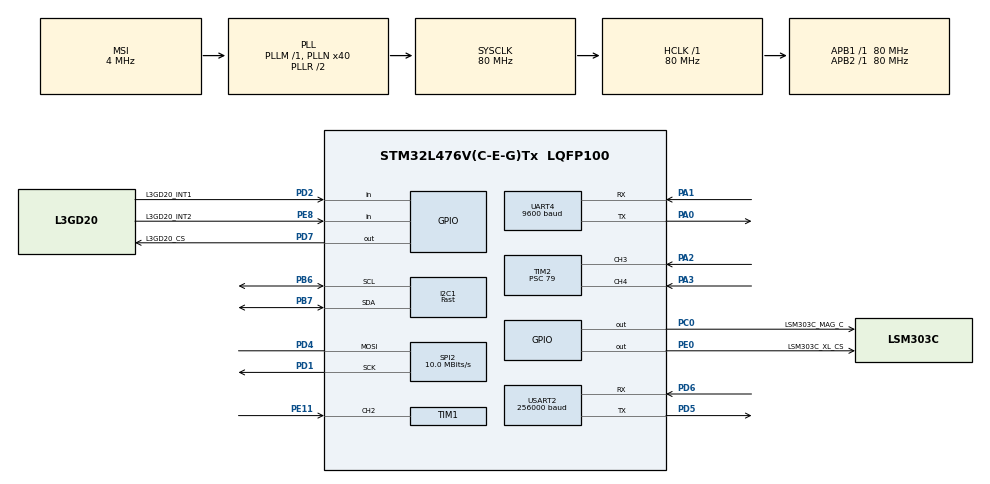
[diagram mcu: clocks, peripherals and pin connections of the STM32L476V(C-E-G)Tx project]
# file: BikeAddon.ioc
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Dma.I2C1_RX.2.Direction=DMA_PERIPH_TO_MEMORY
Dma.I2C1_RX.2.Instance=DMA2_Channel6
Dma.I2C1_RX.2.MemDataAlignment=DMA_MDATAALIGN_BYTE
Dma.I2C1_RX.2.MemInc=DMA_MINC_ENABLE
Dma.I2C1_RX.2.Mode=DMA_CIRCULAR
Dma.I2C1_RX.2.PeriphDataAlignment=DMA_PDATAALIGN_BYTE
Dma.I2C1_RX.2.PeriphInc=DMA_PINC_DISABLE
Dma.I2C1_RX.2.Priority=DMA_PRIORITY_LOW
Dma.I2C1_TX.3.Direction=DMA_MEMORY_TO_PERIPH
Dma.I2C1_TX.3.Instance=DMA1_Channel6
Dma.I2C1_TX.3.MemDataAlignment=DMA_MDATAALIGN_BYTE
Dma.I2C1_TX.3.MemInc=DMA_MINC_ENABLE
Dma.I2C1_TX.3.Mode=DMA_NORMAL
Dma.I2C1_TX.3.PeriphDataAlignment=DMA_PDATAALIGN_BYTE
Dma.I2C1_TX.3.PeriphInc=DMA_PINC_DISABLE
Dma.I2C1_TX.3.Priority=DMA_PRIORITY_LOW
Dma.Request0=UART4_RX
Dma.Request1=UART4_TX
Dma.Request2=I2C1_RX
Dma.Request3=I2C1_TX
Dma.Request4=SPI2_RX
Dma.Request5=SPI2_TX
Dma.Request6=TIM1_CH2
Dma.Request7=TIM2_CH2/CH4
Dma.Request8=TIM2_CH3
Dma.SPI2_RX.4.Direction=DMA_PERIPH_TO_MEMORY
Dma.SPI2_RX.4.Instance=DMA1_Channel4
Dma.SPI2_RX.4.MemDataAlignment=DMA_MDATAALIGN_BYTE
Dma.SPI2_RX.4.MemInc=DMA_MINC_ENABLE
Dma.SPI2_RX.4.Mode=DMA_CIRCULAR
Dma.SPI2_RX.4.PeriphDataAlignment=DMA_PDATAALIGN_BYTE
Dma.SPI2_RX.4.PeriphInc=DMA_PINC_DISABLE
Dma.SPI2_RX.4.Priority=DMA_PRIORITY_LOW
Dma.SPI2_TX.5.Direction=DMA_MEMORY_TO_PERIPH
Dma.SPI2_TX.5.Instance=DMA1_Channel5
Dma.SPI2_TX.5.MemDataAlignment=DMA_MDATAALIGN_BYTE
Dma.SPI2_TX.5.MemInc=DMA_MINC_ENABLE
Dma.SPI2_TX.5.Mode=DMA_NORMAL
Dma.SPI2_TX.5.PeriphDataAlignment=DMA_PDATAALIGN_BYTE
Dma.SPI2_TX.5.PeriphInc=DMA_PINC_DISABLE
Dma.SPI2_TX.5.Priority=DMA_PRIORITY_LOW
Dma.TIM1_CH2.6.Direction=DMA_PERIPH_TO_MEMORY
Dma.TIM1_CH2.6.Instance=DMA1_Channel3
Dma.TIM1_CH2.6.MemDataAlignment=DMA_MDATAALIGN_HALFWORD
Dma.TIM1_CH2.6.MemInc=DMA_MINC_ENABLE
Dma.TIM1_CH2.6.Mode=DMA_CIRCULAR
Dma.TIM1_CH2.6.PeriphDataAlignment=DMA_PDATAALIGN_HALFWORD
Dma.TIM1_CH2.6.PeriphInc=DMA_PINC_DISABLE
Dma.TIM1_CH2.6.Priority=DMA_PRIORITY_LOW
Dma.TIM2_CH2/CH4.7.Direction=DMA_PERIPH_TO_MEMORY
Dma.TIM2_CH2/CH4.7.Instance=DMA1_Channel7
Dma.TIM2_CH2/CH4.7.MemDataAlignment=DMA_MDATAALIGN_WORD
Dma.TIM2_CH2/CH4.7.MemInc=DMA_MINC_ENABLE
Dma.TIM2_CH2/CH4.7.Mode=DMA_CIRCULAR
Dma.TIM2_CH2/CH4.7.PeriphDataAlignment=DMA_PDATAALIGN_WORD
Dma.TIM2_CH2/CH4.7.PeriphInc=DMA_PINC_DISABLE
Dma.TIM2_CH2/CH4.7.Priority=DMA_PRIORITY_LOW
Dma.TIM2_CH3.8.Direction=DMA_PERIPH_TO_MEMORY
Dma.TIM2_CH3.8.Instance=DMA1_Channel1
Dma.TIM2_CH3.8.MemDataAlignment=DMA_MDATAALIGN_WORD
Dma.TIM2_CH3.8.MemInc=DMA_MINC_ENABLE
Dma.TIM2_CH3.8.Mode=DMA_CIRCULAR
Dma.TIM2_CH3.8.PeriphDataAlignment=DMA_PDATAALIGN_WORD
Dma.TIM2_CH3.8.PeriphInc=DMA_PINC_DISABLE
Dma.TIM2_CH3.8.Priority=DMA_PRIORITY_LOW
Dma.UART4_RX.0.Direction=DMA_PERIPH_TO_MEMORY
Dma.UART4_RX.0.Instance=DMA2_Channel5
Dma.UART4_RX.0.MemDataAlignment=DMA_MDATAALIGN_BYTE
Dma.UART4_RX.0.MemInc=DMA_MINC_ENABLE
Dma.UART4_RX.0.Mode=DMA_CIRCULAR
Dma.UART4_RX.0.PeriphDataAlignment=DMA_PDATAALIGN_BYTE
Dma.UART4_RX.0.PeriphInc=DMA_PINC_DISABLE
Dma.UART4_RX.0.Priority=DMA_PRIORITY_LOW
Dma.UART4_TX.1.Direction=DMA_MEMORY_TO_PERIPH
Dma.UART4_TX.1.Instance=DMA2_Channel3
Dma.UART4_TX.1.MemDataAlignment=DMA_MDATAALIGN_BYTE
Dma.UART4_TX.1.MemInc=DMA_MINC_ENABLE
Dma.UART4_TX.1.Mode=DMA_NORMAL
Dma.UART4_TX.1.PeriphDataAlignment=DMA_PDATAALIGN_BYTE
Dma.UART4_TX.1.PeriphInc=DMA_PINC_DISABLE
Dma.UART4_TX.1.Priority=DMA_PRIORITY_LOW
I2C1.I2C_Fall_Time=50
I2C1.I2C_Rise_Time=50
I2C1.I2C_Speed_Mode=I2C_Fast
I2C1.Timing=0x00B02989
Mcu.Family=STM32L4
Mcu.Name=STM32L476V(C-E-G)Tx
Mcu.Package=LQFP100
NVIC.DMA1_Channel1_IRQn=true\:0\:0\:false\:false\:true\:false\:true
NVIC.DMA1_Channel3_IRQn=true\:0\:0\:false\:false\:true\:false\:true
NVIC.DMA1_Channel4_IRQn=true\:0\:0\:false\:false\:true\:false\:true
NVIC.DMA1_Channel5_IRQn=true\:0\:0\:false\:false\:true\:false\:true
NVIC.DMA1_Channel6_IRQn=true\:0\:0\:false\:false\:true\:false\:true
NVIC.DMA1_Channel7_IRQn=true\:0\:0\:false\:false\:true\:false\:true
NVIC.DMA2_Channel3_IRQn=true\:0\:0\:false\:false\:true\:false\:true
NVIC.DMA2_Channel5_IRQn=true\:0\:0\:false\:false\:true\:false\:true
NVIC.DMA2_Channel6_IRQn=true\:0\:0\:false\:false\:true\:false\:true
NVIC.PriorityGroup=NVIC_PRIORITYGROUP_4
NVIC.TIM1_CC_IRQn=true\:0\:0\:false\:false\:true\:true\:true
NVIC.TIM2_IRQn=true\:0\:0\:false\:false\:true\:true\:true
NVIC.TIM3_IRQn=true\:0\:0\:false\:false\:true\:true\:true
NVIC.UART4_IRQn=true\:0\:0\:false\:false\:true\:true\:true
PA0.Mode=Asynchronous
PA0.Signal=UART4_TX
PA1.Mode=Asynchronous
PA1.Signal=UART4_RX
PA2.Signal=S_TIM2_CH3
PA3.Signal=S_TIM2_CH4
PB6.Mode=I2C
PB6.Signal=I2C1_SCL
PB7.Mode=I2C
PB7.Signal=I2C1_SDA
PC0.GPIO_Label=LSM303C_MAG_C
PC0.GPIO_PuPd=GPIO_PULLUP
PC0.Signal=GPIO_Output
PD1.Mode=Simplex_Bidirectional_Master
PD1.Signal=SPI2_SCK
PD2.GPIO_Label=L3GD20_INT1
PD2.GPIO_PuPd=GPIO_NOPULL
PD2.Signal=GPIO_Input
PD4.Mode=Simplex_Bidirectional_Master
PD4.Signal=SPI2_MOSI
PD5.Mode=Asynchronous
PD5.Signal=USART2_TX
PD6.Mode=Asynchronous
PD6.Signal=USART2_RX
PD7.GPIO_Label=L3GD20_CS
PD7.GPIO_PuPd=GPIO_PULLUP
PD7.Signal=GPIO_Output
PE0.GPIO_Label=LSM303C_XL_CS
PE0.GPIO_PuPd=GPIO_PULLUP
PE0.Signal=GPIO_Output
PE11.Signal=S_TIM1_CH2
PE8.GPIO_Label=L3GD20_INT2
PE8.Signal=GPIO_Input
ProjectManager.HeapSize=0x200
ProjectManager.StackSize=0x400
ProjectManager.TargetToolchain=STM32CubeIDE
RCC.ADCFreq_Value=48000000
RCC.AHBFreq_Value=80000000
RCC.APB1Freq_Value=80000000
RCC.APB1TimFreq_Value=80000000
RCC.APB2Freq_Value=80000000
RCC.APB2TimFreq_Value=80000000
RCC.CortexFreq_Value=80000000
RCC.HCLKFreq_Value=80000000
RCC.HSE_VALUE=8000000
RCC.HSI_VALUE=16000000
RCC.LSE_VALUE=32768
RCC.MSI_VALUE=4000000
RCC.PLLN=40
RCC.PLLSAI1N=24
RCC.PREFETCH_ENABLE=1
RCC.SYSCLKFreq_VALUE=80000000
RCC.SYSCLKSource=RCC_SYSCLKSOURCE_PLLCLK
RCC.USBFreq_Value=48000000
RCC.VCOOutputFreq_Value=160000000
SH.S_TIM1_CH2.0=TIM1_CH2,Input_Capture2_from_TI2
SH.S_TIM2_CH3.0=TIM2_CH3,Input_Capture3_from_TI3
SH.S_TIM2_CH4.0=TIM2_CH4,Input_Capture4_from_TI4
SPI2.BaudRatePrescaler=SPI_BAUDRATEPRESCALER_8
SPI2.CalculateBaudRate=10.0 MBits/s
SPI2.DataSize=SPI_DATASIZE_8BIT
SPI2.Direction=SPI_DIRECTION_1LINE
SPI2.Mode=SPI_MODE_MASTER
SPI2.VirtualType=VM_MASTER
TIM1.Channel-Input_Capture2_from_TI2=TIM_CHANNEL_2
TIM1.ICPolarity_CH2=TIM_INPUTCHANNELPOLARITY_FALLING
TIM1.Prescaler=7999
TIM2.Channel-Input_Capture3_from_TI3=TIM_CHANNEL_3
TIM2.Channel-Input_Capture4_from_TI4=TIM_CHANNEL_4
TIM2.ICPolarity_CH3=TIM_INPUTCHANNELPOLARITY_FALLING
TIM2.ICPolarity_CH4=TIM_INPUTCHANNELPOLARITY_FALLING
TIM2.Prescaler=79
TIM3.ClockDivision=TIM_CLOCKDIVISION_DIV1
TIM3.Period=1000
TIM3.Prescaler=7999
UART4.BaudRate=9600
USART2.BaudRate=256000
USART2.VirtualMode-Asynchronous=VM_ASYNC
VP_TIM1_VS_ClockSourceINT.Mode=Internal
VP_TIM2_VS_ClockSourceINT.Mode=Internal
VP_TIM3_VS_ClockSourceINT.Mode=Internal
board=STM32L476G-DISCO

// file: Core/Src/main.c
/* USER CODE BEGIN Header */
/**
  ******************************************************************************
  * @file           : main.c
  * @brief          : Main program body
  ******************************************************************************
  * @attention
  *
  * <h2><center>&copy; Copyright (c) 2020 STMicroelectronics.
  * All rights reserved.</center></h2>
  *
  * This software component is licensed by ST under Ultimate Liberty license
  * SLA0044, the "License"; You may not use this file except in compliance with
  * the License. You may obtain a copy of the License at:
  *                             www.st.com/SLA0044
  *
  ******************************************************************************
  */
/* USER CODE END Header */
#include "main.h"
#include "dma.h"
#include "i2c.h"
#include "spi.h"
#include "tim.h"
#include "usart.h"
#include "gpio.h"

/* USER CODE BEGIN Includes */
#include <stdio.h>
#include <math.h>
#include "common.h"
#include "hall_effect.h"
#include "l3gd20.h"
#include "lsm303c.h"
#include "mpu6050.h"
#include "kalman_filter.h"
#include "alpha_beta_filter.h"
/* USER CODE END Includes */

/* USER CODE BEGIN PD */
#define MY_DEBUG 1
#define OUTPUT_AS_RAW 0
/* Front Wheel Timer Configurations */
#define FRONT_WHEEL_TIM htim2
#define FRONT_WHEEL_TIMX 2
#define FRONT_WHEEL_CHL TIM_CHANNEL_3
/* Back Wheel Timer Configurations */
#define BACK_WHEEL_TIM htim2
#define BACK_WHEEL_TIMX 2
#define BACK_WHEEL_CHL TIM_CHANNEL_4
/* Pedal Gear Timer Configurations */
#define PEDAL_GEAR_TIM htim1
#define PEDAL_GEAR_TIMX 1
#define PEDAL_GEAR_CHL TIM_CHANNEL_4
/* Hall Effect Setups */
#define DISTANCE_BETWEEN_WHEEL_MAGS_CM 5.7
#define DISTANCE_BETWEEN_PEDAL_MAGS_CM 3.5
/* Timing for System */
#define TIM3_FREQUENCY_HZ 10000.0
#define TIM3_TIME_PER_TICK (1/TIM3_FREQUENCY_HZ)
#define SYSTEM_TIME_DELTA_MS 100.0
#define SYSTEM_TIME_MS_TO_TIM3(sys_time) (sys_time / (TIM3_TIME_PER_TICK * 1000.0))
/* USER CODE END PD */

/* USER CODE BEGIN PV */
hall_effect_sensor_t frnt_wheel;
hall_effect_sensor_t back_wheel;
hall_effect_sensor_t pedal_gear;

MPU6050_t mpu_dev;
lsm303c_t lsm_dev;
l3gd20_t l3g_dev;

kalman_t kalman_x = {
        .q_angle = 0.001,
        .q_bias = 0.003,
        .r_measure = 0.03
};

kalman_t kalman_y = {
        .q_angle = 0.001,
        .q_bias = 0.003,
        .r_measure = 0.03,
};

alpha_beta_t alpha_beta_x = {
		.alpha = 0.005,
		.beta = 0.85
};

alpha_beta_t alpha_beta_y = {
		.alpha = 0.005,
		.beta = 0.85
};

double complementary_angle_x = 0;
double complementary_angle_y = 0;

double ab_comp_angle_x = 0;
double ab_comp_angle_y = 0;

double bike_vel_kmh;
double pedal_vel_kmh;
uint32_t total_travelled_meters;
uint32_t frnt_wheel_travelled_meters;
uint32_t back_wheel_travelled_meters;

double dt_ms = SYSTEM_TIME_DELTA_MS;
double dt_s = SYSTEM_TIME_DELTA_MS / 1000.0;

uint8_t wait_flag = 1;
/* USER CODE END PV */

void SystemClock_Config(void);
/* USER CODE BEGIN PFP */
void compute_dynamic_tilt();
void compute_heffects();

void compute_kalman_angles(double dt);
void compute_alpha_beta_angles(double dt);
void compute_complementary_angles();
void compute_ab_comp_angles();
void zero_out_angles();
/* USER CODE END PFP */

int main(void)
{
  /* USER CODE BEGIN 1 */
	/* ID = TIMX * TIM_CHANNEL_MAX(6) + TIM_CHANNEL_X */
	frnt_wheel.id = get_hall_effect_sensor_id(FRONT_WHEEL_TIMX, FRONT_WHEEL_CHL);
	back_wheel.id = get_hall_effect_sensor_id(BACK_WHEEL_TIMX, BACK_WHEEL_CHL);
	pedal_gear.id = get_hall_effect_sensor_id(PEDAL_GEAR_TIMX, PEDAL_GEAR_CHL);
  /* USER CODE END 1 */

  /* MCU Configuration--------------------------------------------------------*/

  /* Reset of all peripherals, Initializes the Flash interface and the Systick. */
  HAL_Init();

  /* USER CODE BEGIN Init */
	configure_hall_effect(&frnt_wheel);
	configure_hall_effect(&back_wheel);
	configure_hall_effect(&pedal_gear);
  /* USER CODE END Init */

  /* Configure the system clock */
  SystemClock_Config();

  /* Initialize all configured peripherals */
  MX_GPIO_Init();
  MX_DMA_Init();
  MX_USART2_UART_Init();
  MX_UART4_Init();
  MX_I2C1_Init();
  MX_SPI2_Init();
  MX_TIM2_Init();
  MX_TIM1_Init();
  MX_TIM3_Init();
  /* USER CODE BEGIN 2 */
	htim3.Instance->ARR = SYSTEM_TIME_MS_TO_TIM3(dt_ms);

	l3gd20_init(&hspi2);
	lsm303c_init(&hspi2);
	while (MPU6050_Init(&hi2c1) == 1);
	HAL_TIM_IC_Start_DMA(&(FRONT_WHEEL_TIM), FRONT_WHEEL_CHL, frnt_wheel.buffer, frnt_wheel.buf_len);
	HAL_TIM_IC_Start_DMA(&(BACK_WHEEL_TIM), BACK_WHEEL_CHL, back_wheel.buffer, back_wheel.buf_len);
	HAL_TIM_IC_Start_DMA(&(PEDAL_GEAR_TIM), PEDAL_GEAR_CHL, pedal_gear.buffer, pedal_gear.buf_len);
  /* USER CODE END 2 */

  /* Infinite loop */
  /* USER CODE BEGIN WHILE */
	zero_out_angles();

	HAL_Delay(2000);
	HAL_TIM_Base_Start_IT(&htim3);
	char buffer[64] = { 0 };
  	size_t size;

	while (1)
	{
		wait_flag = 1;

		compute_dynamic_tilt();
		compute_heffects();

#if MY_DEBUG == 1
		HAL_UART_Transmit(&huart2, (uint8_t *)"===========Built-in Raw===========\n\r", sizeof("===========Built-in Raw===========\n\r"), 0xFFFF);

		size = snprintf(buffer, 64, "Acce: X: %0.4f\tY: %0.4f\n\r", lsm_dev.acc_x, lsm_dev.acc_y);
		HAL_UART_Transmit(&huart2, (uint8_t *)buffer, size, 0xFFFF);
		size = snprintf(buffer, 64, "Gyro: X: %0.4f\tY: %0.4f\tZ: %0.4f\n\r", l3g_dev.gyro_x, l3g_dev.gyro_y, l3g_dev.gyro_z);
		HAL_UART_Transmit(&huart2, (uint8_t *)buffer, size, 0xFFFF);

		HAL_UART_Transmit(&huart2, (uint8_t *)"===========MPU Raw===========\n\r", sizeof("===========MPU Raw===========\n\r"), 0xFFFF);

		size = snprintf(buffer, 64, "Acce: X: %0.4f\tY: %0.4f\n\r", mpu_dev.AccX, mpu_dev.AccY);
		HAL_UART_Transmit(&huart2, (uint8_t *)buffer, size, 0xFFFF);
		size = snprintf(buffer, 64, "Gyro: X: %0.4f\tY: %0.4f\tZ: %0.4f\n\r", mpu_dev.GyroX, mpu_dev.GyroY, mpu_dev.GyroZ);
		HAL_UART_Transmit(&huart2, (uint8_t *)buffer, size, 0xFFFF);

		HAL_UART_Transmit(&huart2, (uint8_t *)"===========MPU Filters===========\n\r", sizeof("===========MPU Filters===========\n\r"), 0xFFFF);

		size = snprintf(buffer, 64, "Kalman: X: %0.4f\tY: %0.4f\n\r", kalman_x.angle, kalman_y.angle);
		HAL_UART_Transmit(&huart2, (uint8_t *)buffer, size, 0xFFFF);
		size = snprintf(buffer, 64, "Alpha: X: %0.4f\tY: %0.4f\n\r", alpha_beta_x.alpha_out, alpha_beta_y.alpha_out);
		HAL_UART_Transmit(&huart2, (uint8_t *)buffer, size, 0xFFFF);
		size = snprintf(buffer, 64, "Complementary: X: %0.4f\tY: %0.4f\n\r", complementary_angle_x, complementary_angle_y);
		HAL_UART_Transmit(&huart2, (uint8_t *)buffer, size, 0xFFFF);
		size = snprintf(buffer, 64, "Alpha + Comp: X: %0.4f\tY: %0.4f\n\r", ab_comp_angle_x, ab_comp_angle_y);
		HAL_UART_Transmit(&huart2, (uint8_t *)buffer, size, 0xFFFF);
#endif

		/* Consume for set time */
		while (wait_flag == 1);
#if MY_DEBUG == 1
		HAL_UART_Transmit(&huart2, (uint8_t *)"\033c", sizeof("\033c"), 0xFFFF);
#endif
		/* Read position via GPS */
		/* Read speed via GPS */
		/* Calculate acce via GPS */
		  /* acce = (speed_now - speed_before) / time */
		/* Read linear acceleration via IMU */
		  /* This requires hefty math */
    /* USER CODE END WHILE */

	}
}

void SystemClock_Config(void)
{
  RCC_OscInitTypeDef RCC_OscInitStruct = {0};
  RCC_ClkInitTypeDef RCC_ClkInitStruct = {0};
  RCC_PeriphCLKInitTypeDef PeriphClkInit = {0};

  /** Initializes the RCC Oscillators according to the specified parameters
  * in the RCC_OscInitTypeDef structure.
  */
  RCC_OscInitStruct.OscillatorType = RCC_OSCILLATORTYPE_MSI;
  RCC_OscInitStruct.MSIState = RCC_MSI_ON;
  RCC_OscInitStruct.MSICalibrationValue = 0;
  RCC_OscInitStruct.MSIClockRange = RCC_MSIRANGE_6;
  RCC_OscInitStruct.PLL.PLLState = RCC_PLL_ON;
  RCC_OscInitStruct.PLL.PLLSource = RCC_PLLSOURCE_MSI;
  RCC_OscInitStruct.PLL.PLLM = 1;
  RCC_OscInitStruct.PLL.PLLN = 40;
  RCC_OscInitStruct.PLL.PLLP = RCC_PLLP_DIV7;
  RCC_OscInitStruct.PLL.PLLQ = RCC_PLLQ_DIV2;
  RCC_OscInitStruct.PLL.PLLR = RCC_PLLR_DIV2;
  if (HAL_RCC_OscConfig(&RCC_OscInitStruct) != HAL_OK)
  {
    Error_Handler();
  }
  /** Initializes the CPU, AHB and APB buses clocks
  */
  RCC_ClkInitStruct.ClockType = RCC_CLOCKTYPE_HCLK|RCC_CLOCKTYPE_SYSCLK
                              |RCC_CLOCKTYPE_PCLK1|RCC_CLOCKTYPE_PCLK2;
  RCC_ClkInitStruct.SYSCLKSource = RCC_SYSCLKSOURCE_PLLCLK;
  RCC_ClkInitStruct.AHBCLKDivider = RCC_SYSCLK_DIV1;
  RCC_ClkInitStruct.APB1CLKDivider = RCC_HCLK_DIV1;
  RCC_ClkInitStruct.APB2CLKDivider = RCC_HCLK_DIV1;

  if (HAL_RCC_ClockConfig(&RCC_ClkInitStruct, FLASH_LATENCY_4) != HAL_OK)
  {
    Error_Handler();
  }
  PeriphClkInit.PeriphClockSelection = RCC_PERIPHCLK_USART2|RCC_PERIPHCLK_UART4
                              |RCC_PERIPHCLK_I2C1;
  PeriphClkInit.Usart2ClockSelection = RCC_USART2CLKSOURCE_PCLK1;
  PeriphClkInit.Uart4ClockSelection = RCC_UART4CLKSOURCE_PCLK1;
  PeriphClkInit.I2c1ClockSelection = RCC_I2C1CLKSOURCE_PCLK1;
  if (HAL_RCCEx_PeriphCLKConfig(&PeriphClkInit) != HAL_OK)
  {
    Error_Handler();
  }
  /** Configure the main internal regulator output voltage
  */
  if (HAL_PWREx_ControlVoltageScaling(PWR_REGULATOR_VOLTAGE_SCALE1) != HAL_OK)
  {
    Error_Handler();
  }
}

/* USER CODE BEGIN 4 */
/** Computes the dynamic tilt of the device.
 *
 * Dynamic tilt takes into account the linear acceleration of the body.
 * As a result, a gyroscope AND accelerometer is used to determine the incline
 * of the bike as the user moves. It will mostly be looking for steady-state
 * incline as there is a lot of noise as a bike travels. The desired response
 * time to an incline is approximately ~2-3 seconds. This should provide enough
 * phase error when using an advanced filter such as a Kalman filter or
 * integrating a low pass filter for noise reduction.
 */
void compute_dynamic_tilt()
{
	/* Compute dynamic tilt angle via MPU6050 IMU */
	MPU6050_Read_All(&hi2c1, &mpu_dev);
	MPU6050_Compute_Angles(&mpu_dev, dt_s);
	compute_kalman_angles(dt_s);
	compute_alpha_beta_angles(dt_s);
	compute_complementary_angles();
	compute_ab_comp_angles();

	/* Compute dynamic tilt angle via LSM303C and L3GD20 IMUs */
	read_xyz_values_lsm303c(&(lsm_dev.xyz_raw));
	read_xyz_values_l3gd20(&(l3g_dev.xyz_raws));
	lsm303c_compute_angles(&lsm_dev);
	l3gd20_compute_angles(&l3g_dev, dt_s);
}

/** Computes the angle of the device using a Kalman Filter.
 *
 * This filter is complicated and is mostly derived from online sources.
 *
 * Note: This filter is tuned well to remove a lot of steady state drift.
 * An additional filter (e.g low pass filter) should be implemented to help
 * with noise reduction.
 */
void compute_kalman_angles(double dt)
{
	if ((mpu_dev.AccY < -90 && kalman_y.angle > 90) || (mpu_dev.AccY > 90 && kalman_y.angle < -90))
	{
	  kalman_y.angle = mpu_dev.AccY;
	}
	else
	{
	  kalman_y.angle = kalman_get_angle(&kalman_y, mpu_dev.AccY, mpu_dev.Gy, dt);
	}

	if (fabs(kalman_y.angle) > 90)
	{
	  mpu_dev.Gx = -mpu_dev.Gx;
	}
	kalman_x.angle = kalman_get_angle(&kalman_x, mpu_dev.AccX, mpu_dev.Gx, dt);
}

/** Computes the angle of the device using an alpha-beta filter.
 *
 * The alpha-beta filter is extremely simple and only takes into account the
 * gyroscope. As such, this filter introduces a lot of long term drift but
 * handles noise fairly well compared to the Kalman Filter. It's response time
 * is also adequate.
 */
void compute_alpha_beta_angles(double dt)
{
	alpha_beta_update(&alpha_beta_x, mpu_dev.Gx, dt);
	alpha_beta_update(&alpha_beta_y, mpu_dev.Gy, dt);
}

/** Computes the angle of the device using a complementary angle.
 *
 * The complementary filter is also extremely simple but requires the angle to
 * be computed using Euler math. This causes a Gimble-lock along the yaw axis
 * which normally is an issue but for this case, only the pitch axis matters.
 *
 * Note: This filter needs to be tuned better as the long term drift isn't
 * completely mitigated by the accelerometer.
 */
void compute_complementary_angles()
{
	complementary_angle_x = 0.04f * mpu_dev.AccX + 0.96 * mpu_dev.GyroX;
	complementary_angle_y = 0.04f * mpu_dev.AccY + 0.96 * mpu_dev.GyroY;
}

/** Computes the angle of the device by combining the alpha-beta and complementary filters.
 *
 * This combines both the alpha-beta filter and the complementary filter together
 * to help cover some of their faults. It works for a bit but still exhibits long
 * term drift as the complimentary filter part isn't perfect yet.
 */
void compute_ab_comp_angles()
{
	ab_comp_angle_x = 0.04f * mpu_dev.AccX + 0.96 * alpha_beta_x.alpha_out;
	ab_comp_angle_y = 0.04f * mpu_dev.AccY + 0.96 * alpha_beta_y.alpha_out;
}

/** Zeros out the starting angles for the MPU6050
 *
 * This is used for initial calibration. Ideally, each MPU device will
 * know absolute flatness and will not significantly drift from that.
 *
 * Note: The MPU6050 device is being used in place of a inclino-meter as
 * those devices are expensive but extremely precise.
 *
 * Note: A magnetometer can be used in conjunction with the MPU6050 for
 * better precision and lower drift. The STM32L476VG has a built in MEMs
 * magnetometer but is a WIP.
 */
void zero_out_angles()
{
	char buffer[64] = { 0 };
	double error_temps[10] = { 0 };
	size_t size;

	for (int i = 0; i < 50; i++)
	{
		MPU6050_Read_All(&hi2c1, &mpu_dev);
		read_xyz_values_lsm303c(&(lsm_dev.xyz_raw));
		read_xyz_values_l3gd20(&(l3g_dev.xyz_raws));

		HAL_Delay(dt_ms);
	}

	for (int i = 0; i < 50; i++)
	{
		MPU6050_Read_All(&hi2c1, &mpu_dev);
		MPU6050_Compute_Angles(&mpu_dev, dt_s);

		error_temps[0] += mpu_dev.AccX;
		error_temps[1] += mpu_dev.AccY;

		error_temps[2] += mpu_dev.Gx;
		error_temps[3] += mpu_dev.Gy;
		error_temps[4] += mpu_dev.Gz;

		read_xyz_values_lsm303c(&(lsm_dev.xyz_raw));
		read_xyz_values_l3gd20(&(l3g_dev.xyz_raws));
		lsm303c_compute_angles(&lsm_dev);
		l3gd20_compute_angles(&l3g_dev, dt_s);

		error_temps[5] += lsm_dev.acc_x;
		error_temps[6] += lsm_dev.acc_y;

		error_temps[7] += l3g_dev.xyz_raws.x;
		error_temps[8] += l3g_dev.xyz_raws.y;
		error_temps[9] += l3g_dev.xyz_raws.z;

		HAL_Delay(dt_ms);
	}

	mpu_dev.AccXError -= error_temps[0] / 50.0;
	mpu_dev.AccYError -= error_temps[1] / 50.0;

	mpu_dev.GyroXError -= error_temps[2] / 50.0;
	mpu_dev.GyroYError -= error_temps[3] / 50.0;
	mpu_dev.GyroZError -= error_temps[4] / 50.0;

	lsm_dev.acc_x_error -= error_temps[5] / 50.0;
	lsm_dev.acc_y_error -= error_temps[6] / 50.0;

	l3g_dev.gyro_x_error -= error_temps[7] / 50.0;
	l3g_dev.gyro_y_error -= error_temps[8] / 50.0;
	l3g_dev.gyro_z_error -= error_temps[9] / 50.0;

	HAL_UART_Transmit(&huart2, (uint8_t *)"===========MPU Raw===========\n\r", sizeof("===========MPU Raw===========\n\r"), 0xFFFF);

	size = snprintf(buffer, 64, "Acce Zero: X: %0.4f\tY: %0.4f\n\r", mpu_dev.AccXError, mpu_dev.AccYError);
	HAL_UART_Transmit(&huart2, (uint8_t *)buffer, size, 0xFFFF);
	size = snprintf(buffer, 64, "Gyro Zero: X: %0.4f\tY: %0.4f\tZ: %0.4f\n\r", mpu_dev.GyroXError, mpu_dev.GyroYError, mpu_dev.GyroZError);
	HAL_UART_Transmit(&huart2, (uint8_t *)buffer, size, 0xFFFF);

	HAL_UART_Transmit(&huart2, (uint8_t *)"===========Built-in Raw===========\n\r", sizeof("===========Built-in Raw===========\n\r"), 0xFFFF);

	size = snprintf(buffer, 64, "Acce Zero: X: %0.4f\tY: %0.4f\n\r", lsm_dev.acc_x_error, lsm_dev.acc_y_error);
	HAL_UART_Transmit(&huart2, (uint8_t *)buffer, size, 0xFFFF);
	size = snprintf(buffer, 64, "Gyro Zero: X: %0.4f\tY: %0.4f\tZ: %0.4f\n\r", l3g_dev.gyro_x_error, l3g_dev.gyro_y_error, l3g_dev.gyro_z_error);
	HAL_UART_Transmit(&huart2, (uint8_t *)buffer, size, 0xFFFF);
}

/** Perform calculations using the hall effect sensor hardware
 *
 * Hall effects are used to calculate:
 *  - Total distance traveled (ticks * distance_between_mags)
 *  - Velocity (distance / time_between_mags)
 *  - Acceleration (WIP)
 *
 * This sensor is expected to have little to no noise. Possibly
 * some de-bouncing is required for switch triggers though a
 * Schmitt trigger is already integrated into the sensors
 *
 * Note: The total distance traveled is absolute. The ticks counter will
 * update continuously regardless of this function call. The distance will
 * never overflow as it will require the user to travel over ~151000 miles
 * (5.7cm * (2^32 - 1)).
 *
 * Note: Velocity is a direct calculation but assumes constant movement.
 * This means that the velocity may need a diff max to assume 0 velocity.
 * @Current Setup: (Average walking speed is 5 km/h [https://en.wikipedia.org/wiki/Walking])
 * - Slowest Speed: 0.00004777684809 km/h
 * - Fastest Speed: 205200 km/h
 *
 * Note: Acceleration will require a higher order filter such as an alpha-beta
 * filter as it will be a derivation of the calculated velocity.
 */
void compute_heffects()
{
	double f_whl_vel;
	double b_whl_vel;
	double p_vel;

	double f_dist_trav;
	double b_dist_trav;

	/* Simple velocity calculator (distance / time) */
	/*
	 *                   1 m       1 km
	 * D_B_W_MAGS cm * ------- * ---------
	 *                  100 cm    1000 m
	 * ----------------------------------------
	 *  diff ticks/s      1 min       1 hr
	 * -------------- * --------- * ---------
	 *  freq Hz           60 s        60 min
	 */
	f_whl_vel = (DISTANCE_BETWEEN_WHEEL_MAGS_CM / (100.0 * 1000.0))
			/ ((frnt_wheel.diff / TIM3_FREQUENCY_HZ) * (1.0/60.0) * (1.0/60.0));
	b_whl_vel = (DISTANCE_BETWEEN_WHEEL_MAGS_CM / (100.0 * 1000.0))
			/ ((back_wheel.diff / TIM3_FREQUENCY_HZ) * (1.0/60.0) * (1.0/60.0));
	p_vel = (DISTANCE_BETWEEN_PEDAL_MAGS_CM / (100.0 * 1000.0))
			/ ((pedal_gear.diff / TIM3_FREQUENCY_HZ) * (1.0/60.0) * (1.0/60.0));

	/* Compute distance traveled (ticks * distance) */
	/*
	 *                                      1 m
	 * frnt_wheel_ticks * D_B_W_MAGS cm * --------
	 *                                     100 cm
	 */
	f_dist_trav = frnt_wheel.ticks * DISTANCE_BETWEEN_WHEEL_MAGS_CM / 100.0;
	b_dist_trav = back_wheel.ticks * DISTANCE_BETWEEN_WHEEL_MAGS_CM / 100.0;

	/* Compute acceleration (WIP) */

	/* Save to system */
	bike_vel_kmh = (f_whl_vel + b_whl_vel) / 2.0;
	pedal_vel_kmh = p_vel;
	total_travelled_meters += (f_dist_trav + b_dist_trav) / 2.0;
	frnt_wheel_travelled_meters = f_dist_trav;
	back_wheel_travelled_meters = b_dist_trav;
}

void HAL_TIM_PeriodElapsedCallback(TIM_HandleTypeDef *htim)
{
	if (htim->Instance == TIM3)
	{
		/* System failed to meet timing specifications */
		if (wait_flag == 0)
			Error_Handler();
		else
			wait_flag = 0;
	}
}

/* USER CODE END 4 */

void Error_Handler(void)
{
}

/************************ (C) COPYRIGHT STMicroelectronics *****END OF FILE****/
